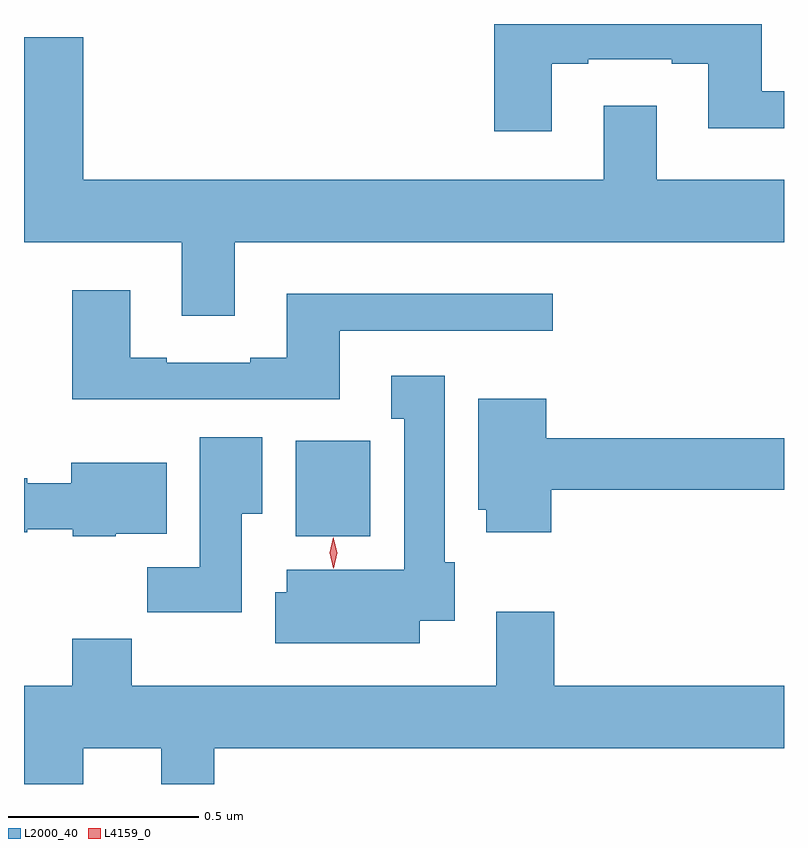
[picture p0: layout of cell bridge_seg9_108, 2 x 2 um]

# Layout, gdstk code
import gdstk
lib = gdstk.Library(unit=1e-6, precision=1e-09)
def R(c, l, rs):  # rectangles x0, y0, x1, y1
    for r in rs: c.add(gdstk.rectangle(r[:2], r[2:], *l))
def P(c, l, *ps):  # polygons
    for p in ps: c.add(gdstk.Polygon(p, *l))
L2000_40 = (2000, 40)
L4159_0 = (4159, 0)

bridge_seg9_108 = lib.new_cell('bridge_seg9_108')
R(bridge_seg9_108, L2000_40, [(885.011,1195.646,885.207,1195.897)])
P(bridge_seg9_108, L2000_40, [(885.685,1196.889),(885.781,1196.889),(885.781,1196.901),(886.001,1196.901),(886.001,1196.889),(886.097,1196.889),(886.097,1196.72),(886.296,1196.72),(886.296,1196.817),(886.237,1196.817),(886.237,1196.994),(885.533,1196.994),(885.533,1196.712),(885.685,1196.712)],
  [(884.851,1196.42),(886.296,1196.42),(886.296,1196.584),(885.961,1196.584),(885.961,1196.779),(885.821,1196.779),(885.821,1196.584),(884.452,1196.584),(884.452,1196.959),(884.296,1196.959),(884.296,1196.42),(884.711,1196.42),(884.711,1196.226),(884.851,1196.226)],
  [(884.663,1196.007),(885.127,1196.007),(885.127,1196.187),(885.688,1196.187),(885.688,1196.284),(884.987,1196.284),(884.987,1196.116),(884.891,1196.116),(884.891,1196.103),(884.671,1196.103),(884.671,1196.116),(884.575,1196.116),(884.575,1196.293),(884.423,1196.293),(884.423,1196.006),(884.663,1196.006)],
  [(885.337,1195.424),(885.43,1195.424),(885.43,1195.578),(885.403,1195.578),(885.403,1196.068),(885.263,1196.068),(885.263,1195.955),(885.296,1195.955),(885.296,1195.558),(884.987,1195.558),(884.987,1195.499),(884.957,1195.499),(884.957,1195.364),(885.337,1195.364)],
  [(885.683,1195.768),(886.296,1195.768),(886.296,1195.904),(885.67,1195.904),(885.67,1196.008),(885.491,1196.008),(885.491,1195.716),(885.512,1195.716),(885.512,1195.656),(885.683,1195.656)],
  [(884.869,1195.705),(884.923,1195.705),(884.923,1195.906),(884.759,1195.906),(884.759,1195.564),(884.62,1195.564),(884.62,1195.446),(884.869,1195.446)],
  [(884.538,1195.652),(884.671,1195.652),(884.671,1195.84),(884.42,1195.84),(884.42,1195.786),(884.304,1195.786),(884.304,1195.799),(884.296,1195.799),(884.296,1195.657),(884.304,1195.657),(884.304,1195.664),(884.424,1195.664),(884.424,1195.646),(884.538,1195.646)],
  [(884.452,1195.088),(884.657,1195.088),(884.657,1194.994),(884.797,1194.994),(884.797,1195.088),(886.296,1195.088),(886.296,1195.252),(885.692,1195.252),(885.692,1195.447),(885.539,1195.447),(885.539,1195.252),(884.579,1195.252),(884.579,1195.376),(884.423,1195.376),(884.423,1195.252),(884.296,1195.252),(884.296,1194.994),(884.452,1194.994)])
P(bridge_seg9_108, L4159_0, [(885.11,1195.562),(885.1,1195.603),(885.11,1195.644),(885.11,1195.644),(885.11,1195.644),(885.12,1195.603),(885.111,1195.562),(885.111,1195.562)])

lib.write_gds('bridge_seg9_108.gds')
